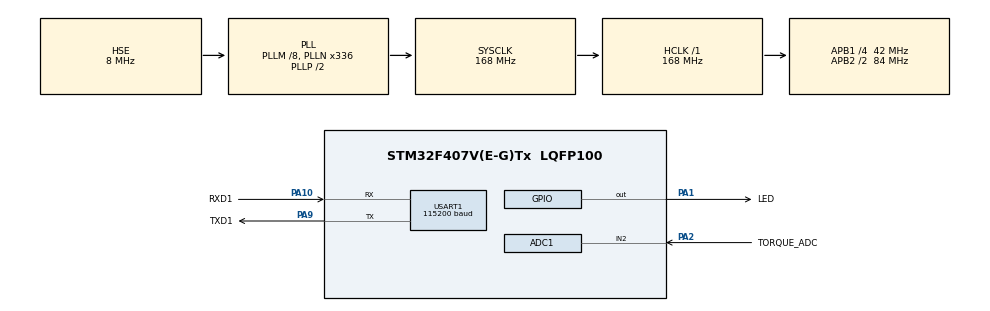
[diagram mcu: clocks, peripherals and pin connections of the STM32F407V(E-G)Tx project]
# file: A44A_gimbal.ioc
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ADC1.Channel-0\#ChannelRegularConversion=ADC_CHANNEL_2
ADC1.ClockPrescaler=ADC_CLOCK_SYNC_PCLK_DIV4
ADC1.ContinuousConvMode=ENABLE
ADC1.DMAContinuousRequests=ENABLE
ADC1.DataAlign=ADC_DATAALIGN_RIGHT
ADC1.DiscontinuousConvMode=DISABLE
ADC1.EOCSelection=ADC_EOC_SINGLE_CONV
ADC1.ExternalTrigConv=ADC_SOFTWARE_START
ADC1.ExternalTrigConvEdge=ADC_EXTERNALTRIGCONVEDGE_NONE
ADC1.NbrOfConversion=1
ADC1.NbrOfConversionFlag=1
ADC1.Rank-0\#ChannelRegularConversion=1
ADC1.Resolution=ADC_RESOLUTION_12B
ADC1.SamplingTime-0\#ChannelRegularConversion=ADC_SAMPLETIME_84CYCLES
ADC1.ScanConvMode=DISABLE
Dma.ADC1.0.Channel=DMA_CHANNEL_0
Dma.ADC1.0.Direction=DMA_PERIPH_TO_MEMORY
Dma.ADC1.0.FIFOMode=DMA_FIFOMODE_DISABLE
Dma.ADC1.0.Instance=DMA2_Stream0
Dma.ADC1.0.MemDataAlignment=DMA_MDATAALIGN_HALFWORD
Dma.ADC1.0.MemInc=DMA_MINC_ENABLE
Dma.ADC1.0.Mode=DMA_CIRCULAR
Dma.ADC1.0.PeriphDataAlignment=DMA_PDATAALIGN_HALFWORD
Dma.ADC1.0.PeriphInc=DMA_PINC_DISABLE
Dma.ADC1.0.Priority=DMA_PRIORITY_HIGH
Dma.Request0=ADC1
Dma.Request1=USART1_RX
Dma.Request2=USART1_TX
Dma.USART1_RX.1.Direction=DMA_PERIPH_TO_MEMORY
Dma.USART1_RX.1.FIFOMode=DMA_FIFOMODE_DISABLE
Dma.USART1_RX.1.Instance=DMA2_Stream2
Dma.USART1_RX.1.MemDataAlignment=DMA_MDATAALIGN_BYTE
Dma.USART1_RX.1.MemInc=DMA_MINC_ENABLE
Dma.USART1_RX.1.Mode=DMA_NORMAL
Dma.USART1_RX.1.PeriphDataAlignment=DMA_PDATAALIGN_BYTE
Dma.USART1_RX.1.PeriphInc=DMA_PINC_DISABLE
Dma.USART1_RX.1.Priority=DMA_PRIORITY_LOW
Dma.USART1_TX.2.Direction=DMA_MEMORY_TO_PERIPH
Dma.USART1_TX.2.FIFOMode=DMA_FIFOMODE_DISABLE
Dma.USART1_TX.2.Instance=DMA2_Stream7
Dma.USART1_TX.2.MemDataAlignment=DMA_MDATAALIGN_BYTE
Dma.USART1_TX.2.MemInc=DMA_MINC_ENABLE
Dma.USART1_TX.2.Mode=DMA_NORMAL
Dma.USART1_TX.2.PeriphDataAlignment=DMA_PDATAALIGN_BYTE
Dma.USART1_TX.2.PeriphInc=DMA_PINC_DISABLE
Dma.USART1_TX.2.Priority=DMA_PRIORITY_LOW
FREERTOS.INCLUDE_vTaskDelayUntil=1
FREERTOS.configUSE_TIMERS=1
Mcu.Family=STM32F4
Mcu.Name=STM32F407V(E-G)Tx
Mcu.Package=LQFP100
NVIC.DMA2_Stream0_IRQn=true\:5\:0\:false\:false\:true\:true\:false\:true\:true
NVIC.DMA2_Stream2_IRQn=true\:5\:0\:false\:false\:true\:true\:false\:true\:true
NVIC.DMA2_Stream7_IRQn=true\:5\:0\:false\:false\:true\:true\:false\:true\:true
NVIC.PriorityGroup=NVIC_PRIORITYGROUP_4
NVIC.TIM1_UP_TIM10_IRQn=true\:0\:0\:false\:false\:true\:false\:false\:true\:true
NVIC.TIM4_IRQn=true\:6\:0\:false\:false\:true\:true\:true\:true\:true
NVIC.TimeBase=TIM1_UP_TIM10_IRQn
NVIC.TimeBaseIP=TIM10
NVIC.USART1_IRQn=true\:5\:0\:false\:false\:true\:true\:true\:true\:true
PA1.GPIO_Label=LED
PA1.PinState=GPIO_PIN_SET
PA1.Signal=GPIO_Output
PA10.GPIO_Label=RXD1
PA10.Mode=Asynchronous
PA10.Signal=USART1_RX
PA13.Mode=Serial_Wire
PA13.Signal=SYS_JTMS-SWDIO
PA14.Mode=Serial_Wire
PA14.Signal=SYS_JTCK-SWCLK
PA2.GPIO_Label=TORQUE_ADC
PA2.Mode=IN2
PA2.Signal=ADC1_IN2
PA9.GPIO_Label=TXD1
PA9.Mode=Asynchronous
PA9.Signal=USART1_TX
PB6.GPIO_Label=CADENCE
PB6.Signal=TIM4_CH1
PH0-OSC_IN.Mode=HSE-External-Oscillator
PH0-OSC_IN.Signal=RCC_OSC_IN
PH1-OSC_OUT.Mode=HSE-External-Oscillator
PH1-OSC_OUT.Signal=RCC_OSC_OUT
ProjectManager.HeapSize=0x1000
ProjectManager.StackSize=0x600
ProjectManager.TargetToolchain=MDK-ARM V5
RCC.48MHZClocksFreq_Value=48000000
RCC.AHBFreq_Value=168000000
RCC.APB1CLKDivider=RCC_HCLK_DIV4
RCC.APB1Freq_Value=42000000
RCC.APB1TimFreq_Value=84000000
RCC.APB2CLKDivider=RCC_HCLK_DIV2
RCC.APB2Freq_Value=84000000
RCC.APB2TimFreq_Value=168000000
RCC.CortexFreq_Value=168000000
RCC.HCLKFreq_Value=168000000
RCC.HSE_VALUE=8000000
RCC.HSI_VALUE=16000000
RCC.LSE_VALUE=32768
RCC.PLLM=8
RCC.PLLN=336
RCC.SYSCLKFreq_VALUE=168000000
RCC.SYSCLKSource=RCC_SYSCLKSOURCE_PLLCLK
RCC.VCOOutputFreq_Value=336000000
TIM4.AutoReloadPreload=TIM_AUTORELOAD_PRELOAD_DISABLE
TIM4.Channel1.0=TIM4_CH1
TIM4.Channel1.0.ICFilter=3
TIM4.Channel1.0.ICPolarity=TIM_INPUTCHANNELPOLARITY_RISING
TIM4.Channel1.0.ICPrescaler=TIM_ICPSC_DIV1
TIM4.Channel1.0.ICSelection=TIM_ICSELECTION_DIRECTTI
TIM4.ClockDivision=TIM_CLOCKDIVISION_DIV1
TIM4.CounterMode=TIM_COUNTERMODE_UP
TIM4.Period=65535
TIM4.Prescaler=4199
USART1.BaudRate=115200
USART1.HwFlowCtl=HWCONTROL_NONE
USART1.Mode=MODE_TX_RX
USART1.OverSampling=OVERSAMPLING_16
USART1.Parity=PARITY_NONE
USART1.StopBits=STOPBITS_1
USART1.VirtualMode=VM_ASYNC
USART1.WordLength=WORDLENGTH_8B
VP_FREERTOS_VS_CMSIS_V1.Mode=CMSIS_V1
VP_SYS_VS_tim10.Mode=TIM10

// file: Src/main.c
/* USER CODE BEGIN Header */
/**
  ******************************************************************************
  * @file           : main.c
  * @brief          : 力矩/踏频中转固件主程序（F407 + FreeRTOS CMSIS-RTOS v1）
  ******************************************************************************
  * @attention
  *
  * <h2><center>&copy; Copyright (c) 2019 STMicroelectronics.
  * All rights reserved.</center></h2>
  *
  * This software component is licensed by ST under Ultimate Liberty license
  * SLA0044, the "License"; You may not use this file except in compliance with
  * the License. You may obtain a copy of the License at:
  *                             www.st.com/SLA0044
  *
  ******************************************************************************
  */
/* USER CODE END Header */

#include "main.h"
#include "cmsis_os.h"
#include "adc.h"
#include "dma.h"
#include "gpio.h"
#include "iwdg.h"
#include "tim.h"
#include "usart.h"

/* USER CODE BEGIN Includes */
#include "bsp.h"
#include "usart_comm.h"
#include "usb_comm.h"
/* USER CODE END Includes */

void SystemClock_Config(void);
void MX_FREERTOS_Init(void);

int main(void)
{
  /* MCU Configuration--------------------------------------------------------*/

  /* Reset of all peripherals, Initializes the Flash interface and the Systick. */
  HAL_Init();

  /* Configure the system clock: HSE 8MHz -> 168MHz */
  SystemClock_Config();

  /* Initialize all configured peripherals */
  MX_GPIO_Init();
  MX_DMA_Init();
  MX_ADC1_Init();
  MX_TIM4_Init();
  MX_USART1_UART_Init();
  /* MX_IWDG_Init(); */ /* RELAY_USE_IWDG=0 时不启动，接口保留 */

  /* USER CODE BEGIN 2 */
  /* BSP 层：启动 ADC DMA、踏频捕获、LED/IWDG 接口 */
  Bsp_Init();
  /* USB CDC：次选上行（PC 数据收集/调试），未插 PC 时不影响主链路 */
  comm_usb_init();
  /* Comm 层：注册 USART1 IDLE+DMA 接收回调（26 版写法） */
  comm_usart_init();
  /* USER CODE END 2 */

  /* Call init function for freertos objects (in freertos.c) */
  MX_FREERTOS_Init();

  /* Start scheduler */
  osKernelStart();

  /* We should never get here as control is now taken by the scheduler */
  while (1)
  {
  }
}

void SystemClock_Config(void)
{
  RCC_OscInitTypeDef RCC_OscInitStruct = {0};
  RCC_ClkInitTypeDef RCC_ClkInitStruct = {0};

  /** Configure the main internal regulator output voltage
  */
  __HAL_RCC_PWR_CLK_ENABLE();
  __HAL_PWR_VOLTAGESCALING_CONFIG(PWR_REGULATOR_VOLTAGE_SCALE1);

  /** Initializes the CPU, AHB and APB busses clocks
  */
  RCC_OscInitStruct.OscillatorType = RCC_OSCILLATORTYPE_HSE | RCC_OSCILLATORTYPE_LSI;
  RCC_OscInitStruct.HSEState = RCC_HSE_ON;
  RCC_OscInitStruct.LSIState = RCC_LSI_ON;
  RCC_OscInitStruct.PLL.PLLState = RCC_PLL_ON;
  RCC_OscInitStruct.PLL.PLLSource = RCC_PLLSOURCE_HSE;
  RCC_OscInitStruct.PLL.PLLM = 8;
  RCC_OscInitStruct.PLL.PLLN = 336;
  RCC_OscInitStruct.PLL.PLLP = RCC_PLLP_DIV2;
  RCC_OscInitStruct.PLL.PLLQ = 7;
  if (HAL_RCC_OscConfig(&RCC_OscInitStruct) != HAL_OK)
  {
    Error_Handler();
  }

  /** Initializes the CPU, AHB and APB busses clocks
  */
  RCC_ClkInitStruct.ClockType = RCC_CLOCKTYPE_HCLK | RCC_CLOCKTYPE_SYSCLK
                              | RCC_CLOCKTYPE_PCLK1 | RCC_CLOCKTYPE_PCLK2;
  RCC_ClkInitStruct.SYSCLKSource = RCC_SYSCLKSOURCE_PLLCLK;
  RCC_ClkInitStruct.AHBCLKDivider = RCC_SYSCLK_DIV1;
  RCC_ClkInitStruct.APB1CLKDivider = RCC_HCLK_DIV4;
  RCC_ClkInitStruct.APB2CLKDivider = RCC_HCLK_DIV2;

  if (HAL_RCC_ClockConfig(&RCC_ClkInitStruct, FLASH_LATENCY_5) != HAL_OK)
  {
    Error_Handler();
  }
}

void Error_Handler(void)
{
  __disable_irq();
  while (1)
  {
  }
}

#ifdef USE_FULL_ASSERT
/**
  * @brief  Reports the name of the source file and the source line number
  *         where the assert_param error has occurred.
  * @param  file: pointer to the source file name
  * @param  line: assert_param error line source number
  * @retval None
  */
void assert_failed(uint8_t *file, uint32_t line)
{
  /* USER CODE BEGIN 6 */
  (void)file;
  (void)line;
  /* USER CODE END 6 */
}
#endif /* USE_FULL_ASSERT */

/************************ (C) COPYRIGHT STMicroelectronics *****END OF FILE****/

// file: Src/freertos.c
/* USER CODE BEGIN Header */
/**
  ******************************************************************************
  * File Name          : freertos.c
  * Description        : Code for freertos applications
  ******************************************************************************
  * @attention
  *
  * <h2><center>&copy; Copyright (c) 2019 STMicroelectronics.
  * All rights reserved.</center></h2>
  *
  * This software component is licensed by ST under Ultimate Liberty license
  * SLA0044, the "License"; You may not use this file except in compliance with
  * the License. You may obtain a copy of the License at:
  *                             www.st.com/SLA0044
  *
  ******************************************************************************
  */
/* USER CODE END Header */

#include "FreeRTOS.h"
#include "task.h"
#include "main.h"
#include "cmsis_os.h"

/* USER CODE BEGIN Includes */
#include "relay_task.h"
#include "debug_task.h"
#include "relay_config.h"
#include "tx_sched.h"
#include "status_task.h"
/* USER CODE END Includes */

/* USER CODE BEGIN Variables */
osThreadId relay_task_t;
osThreadId status_task_t;
/* USER CODE END Variables */

void MX_FREERTOS_Init(void); /* (MISRA C 2004 rule 8.1) */

/* GetIdleTaskMemory prototype (linked to static allocation support) */
void vApplicationGetIdleTaskMemory( StaticTask_t **ppxIdleTaskTCBBuffer, StackType_t **ppxIdleTaskStackBuffer, uint32_t *pulIdleTaskStackSize );

/* GetTimerTaskMemory prototype (linked to static allocation support) */
void vApplicationGetTimerTaskMemory( StaticTask_t **ppxTimerTaskTCBBuffer, StackType_t **ppxTimerTaskStackBuffer, uint32_t *pulTimerTaskStackSize );

/* USER CODE BEGIN GET_IDLE_TASK_MEMORY */
static StaticTask_t xIdleTaskTCBBuffer;
static StackType_t xIdleStack[configMINIMAL_STACK_SIZE];

void vApplicationGetIdleTaskMemory( StaticTask_t **ppxIdleTaskTCBBuffer, StackType_t **ppxIdleTaskStackBuffer, uint32_t *pulIdleTaskStackSize )
{
  *ppxIdleTaskTCBBuffer = &xIdleTaskTCBBuffer;
  *ppxIdleTaskStackBuffer = &xIdleStack[0];
  *pulIdleTaskStackSize = configMINIMAL_STACK_SIZE;
}
/* USER CODE END GET_IDLE_TASK_MEMORY */

/* USER CODE BEGIN GET_TIMER_TASK_MEMORY */
static StaticTask_t xTimerTaskTCBBuffer;
static StackType_t xTimerStack[configTIMER_TASK_STACK_DEPTH];

void vApplicationGetTimerTaskMemory( StaticTask_t **ppxTimerTaskTCBBuffer, StackType_t **ppxTimerTaskStackBuffer, uint32_t *pulTimerTaskStackSize )
{
  *ppxTimerTaskTCBBuffer = &xTimerTaskTCBBuffer;
  *ppxTimerTaskStackBuffer = &xTimerStack[0];
  *pulTimerTaskStackSize = configTIMER_TASK_STACK_DEPTH;
}
/* USER CODE END GET_TIMER_TASK_MEMORY */

void MX_FREERTOS_Init(void)
{
  /* USER CODE BEGIN RTOS_THREADS */
  /* taskENTER_CRITICAL 与 RM25/26 一致：建任务期间屏蔽调度 */
  taskENTER_CRITICAL();

  /* v2.4：USART1 上行单一发送调度队列（须先于 relay/debug 任务，二者入队前就绪） */
  TxSched_Init();

  /* relay_task: 50Hz 采样/换算/组帧/发送 */
  osThreadDef(relayTask, relay_task, osPriorityAboveNormal, 0, 512);
  relay_task_t = osThreadCreate(osThread(relayTask), NULL);

  /* tx_sched_task: USART1 上行单一发送任务（v2.4；出队→Uart1_SendPush 串行化） */
  osThreadDef(txSchedTask, tx_sched_task, osPriorityAboveNormal, 0, 256);
  osThreadCreate(osThread(txSchedTask), NULL);

  /* status_task: 心跳 LED + 软件看门狗位图（26 版范式） */
  osThreadDef(statusTask, status_task, osPriorityNormal, 0, 256);
  status_task_t = osThreadCreate(osThread(statusTask), NULL);

#if RELAY_DEBUG_PRINT
  /* debug_task: 调试文本打印（v2.2；RELAY_DEBUG_PRINT=1 时替代二进制帧流） */
  osThreadDef(debugTask, debug_task, osPriorityBelowNormal, 0, 512);
  osThreadCreate(osThread(debugTask), NULL);
#endif

  taskEXIT_CRITICAL();
  /* USER CODE END RTOS_THREADS */
}

/************************ (C) COPYRIGHT STMicroelectronics *****END OF FILE****/
